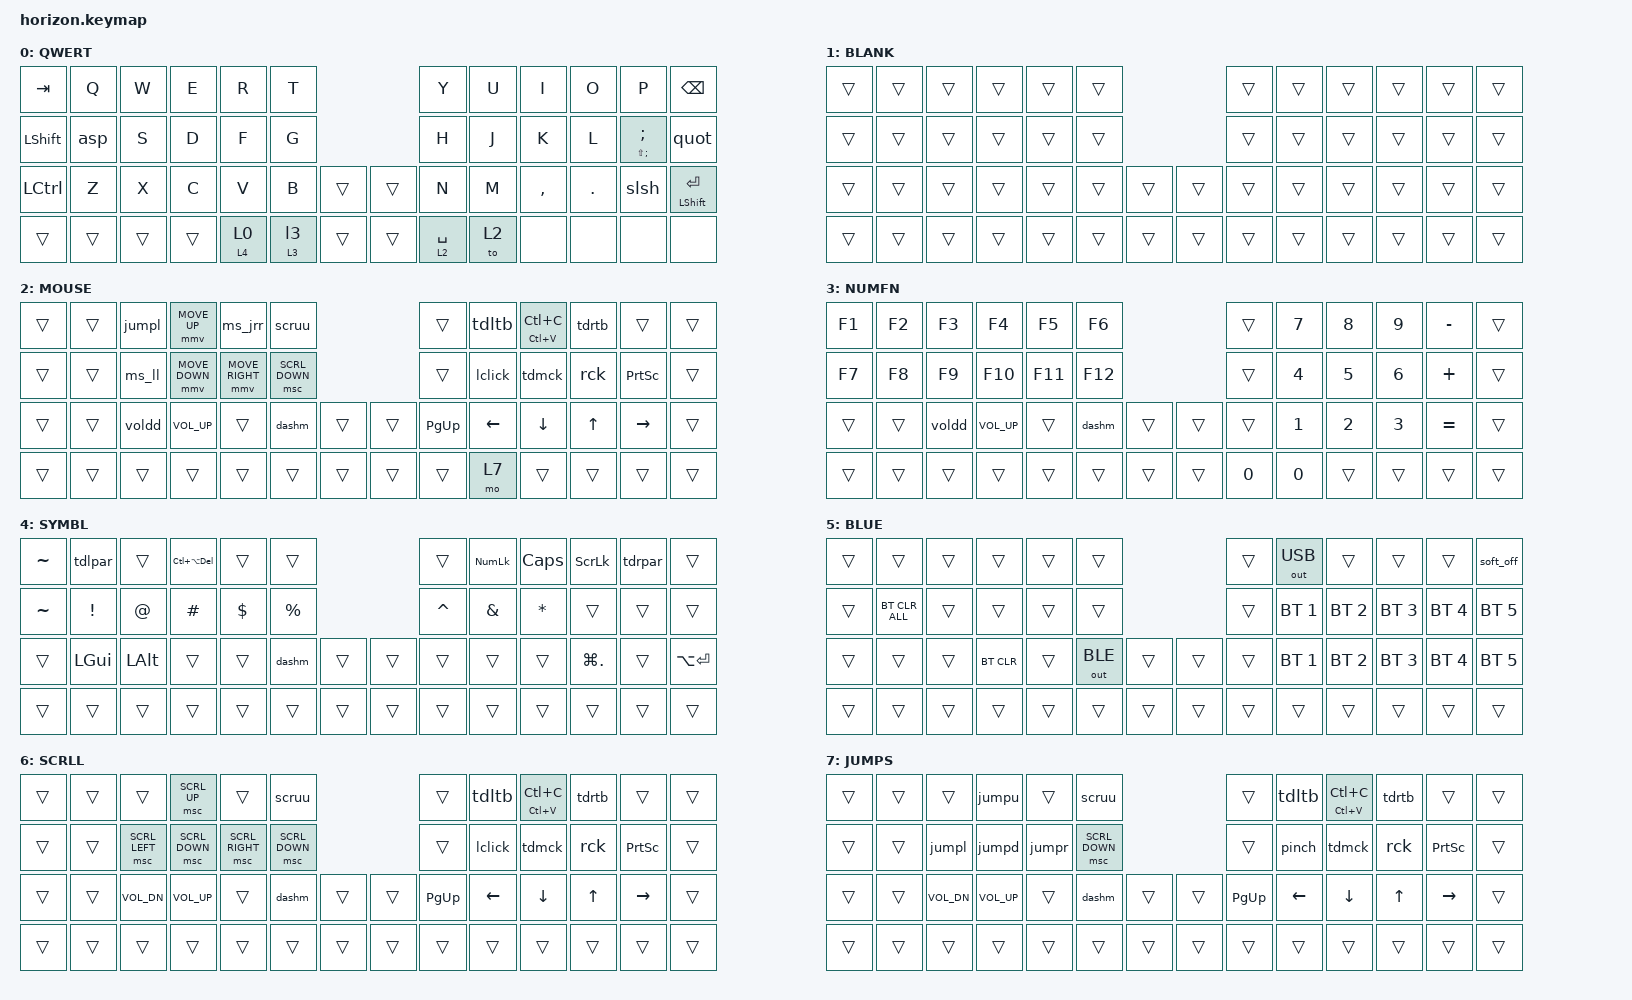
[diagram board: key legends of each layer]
//if plugged in, it will always be charging. can't not, w/o a power switch. 
//to use wired with deskhop, disconnect/remove BT from pc first. 
//mo7 inner thumb compiled but not flashed yet

/*
 * Copyright (c) 2021 The ZMK Contributors
 *
 * SPDX-License-Identifier: MIT
 */

#define MS_L &mmv MOVE_LEFT     //regular mouse moves
#define MS_D &mmv MOVE_DOWN
#define MS_U &mmv MOVE_UP
#define MS_R &mmv MOVE_RIGHT

#define U_MOUSE_MOVE_MAX 99999
#define MS_JL &mmv MOVE_X(-9999)    //not used. macros for jumps
#define MS_JR &mmv MOVE_X(9999)

#define JJL &jl MOVE_LEFT 0     //tap for jump, hold for mouse moves
#define JJD &jd MOVE_DOWN 0
#define JJU &ju MOVE_UP 0
#define JJR &jr MOVE_RIGHT 0

#define ZMK_POINTING_DEFAULT_MOVE_VAL 400  // default: 600
#define ZMK_POINTING_DEFAULT_SCRL_VAL 10   // default: 10

#define SCR_L &msc SCRL_LEFT
#define SCR_D &msc SCRL_DOWN
#define SCR_U &msc SCRL_UP
#define SCR_R &msc SCRL_RIGHT

#define CAD &kp LC(LA(DEL))
#define CAT &kp LC(LA(TAB))

#define COPPST &hold_tap LC(V) LC(C)
#define SENT   &hold_tap LSHFT ENTER
#define SLCN   &hold_tap LS(SEMI) SEMI
#define SLSH   &hold_tap QMARK SLASH

#define BTBLE &out OUT_BLE 
#define BTCLR &bt BT_CLR
#define BTCLRA &bt BT_CLR_ALL
#define BTUSB &out OUT_USB
#define BT1 &bt BT_SEL 1 
#define BT2 &bt BT_SEL 2 
#define BT3 &bt BT_SEL 3
#define BT4 &bt BT_SEL 4
#define BT5 &bt BT_SEL 5
#define LYR3 &mo_m 3 0
#define LYR4 &mo_to 4 0 
#define vold &kp C_VOL_DN 
#define volu &kp C_VOL_UP

#include <behaviors.dtsi>
#include <dt-bindings/zmk/keys.h>
#include <dt-bindings/zmk/bt.h>
#include <dt-bindings/zmk/outputs.h>
#include <dt-bindings/zmk/mouse.h>
#include <dt-bindings/zmk/pointing.h>
#include <behaviors/mouse_keys.dtsi>
#include <input/processors.dtsi>
#include <zephyr/dt-bindings/input/input-event-codes.h>
#include <dt-bindings/zmk/ext_power.h>

//&soft_off { //config to only turn off it the key is held for 0.5 seconds or longer.
//    hold-time-ms = <500>; //not used, currently instant
//};

&lt {
    tapping-term-ms = <180>;
    flavor = "tap-preferred";
};

//sticky keys sticky keys sticky keys sticky keys sticky keys sticky keys sticky keys sticky keys sticky keys sticky keys sticky keys sticky keys 

&sk {   //not using sticky keys
    release-after-ms = <2000>; //hold 2 sec if no other key pressed
    quick-release; //deactivate sk on the next key being pressed
};

//tap dance tap dance tap dance tap dance tap dance tap dance tap dance tap dance tap dance tap dance tap dance tap dance tap dance tap dance tap dance
//tap & double tap 

/ {
    behaviors {
        tdltb: tap_dance_ltb {                                 //left tab
            compatible = "zmk,behavior-tap-dance";
            #binding-cells = <0>;
            tapping-term-ms = <300>;
            bindings = <&hold_tap LA(LEFT) LS(COMMA)>, <&kp LC(LS(TAB))>;
        };
        tdrtb: tap_dance_rtb {                                 //right tab
            compatible = "zmk,behavior-tap-dance";
            #binding-cells = <0>;
            tapping-term-ms = <300>;
            bindings = <&hold_tap LA(RIGHT) LS(DOT)>, <&kp LC(TAB)>;
        };
        tdmck: tap_dance_mck {                                 //mclick
            compatible = "zmk,behavior-tap-dance";
            #binding-cells = <0>;
            tapping-term-ms = <300>;
            bindings = <&mo_clk 6 MCLK>, <&kp LC(LS(T))>;
        };
        tdrck: tap_dance_rck {                                 //rclick
            compatible = "zmk,behavior-tap-dance";
            #binding-cells = <0>;
            tapping-term-ms = <300>;
            bindings = <&mo_clk 1 RCLK>, <&kp LC(W)>;
        };        
        tdlpar: tap_dance_lpar {                                //lpar
            compatible = "zmk,behavior-tap-dance";
            #binding-cells = <0>;
            tapping-term-ms = <300>;
            bindings = <&kp LPAR>, <&kp LBRC>, <&kp LBKT>, <&kp LT>;
        };
        tdrpar: tap_dance_rpar {                                //rpar
            compatible = "zmk,behavior-tap-dance";
            #binding-cells = <0>;
            tapping-term-ms = <300>;
            bindings = <&kp RPAR>, <&kp RBRC>, <&kp RBKT>, <&kp GT>;
        };

    };
};

//custom hold tap custom hold tap custom hold tap custom hold tap custom hold tap custom hold tap custom hold tap custom hold tap custom hold tap
//hold and tap

/ {
    behaviors { 
        hold_tap: hold_tap { //hold tap for regular keycodes
            compatible = "zmk,behavior-hold-tap";
            #binding-cells = <2>;
            tapping-term-ms = <300>;
            quick-tap-ms = <0>;
            bindings = <&kp>, <&kp>;
        };
        hold_tap_clk: hold_tap_clk { //hold mo, tap mouse button. not used?
            compatible = "zmk,behavior-hold-tap";
            #binding-cells = <2>;
            tapping-term-ms = <300>;
            quick-tap-ms = <0>;
            bindings = <&mo>, <&mkp>;
        };     
        jl: jl { //hold move, tap jump
            compatible = "zmk,behavior-hold-tap";
            #binding-cells = <2>;
            flavor = "hold-preferred";
            tapping-term-ms = <300>;
            bindings = <&mmv>, <&jumpl>;
        };
        jd: jd { //hold move, tap jump
            compatible = "zmk,behavior-hold-tap";
            #binding-cells = <2>;
            flavor = "hold-preferred";
            tapping-term-ms = <300>;
            bindings = <&mmv>, <&jumpd>;
        };        
        ju: ju { //hold move, tap jump
            compatible = "zmk,behavior-hold-tap";
            #binding-cells = <2>;
            flavor = "hold-preferred";
            tapping-term-ms = <300>;
            bindings = <&mmv>, <&jumpu>;
        }; 
        jr: jr { //hold move, tap jump
            compatible = "zmk,behavior-hold-tap";
            #binding-cells = <2>;
            flavor = "hold-preferred";
            tapping-term-ms = <300>;
            bindings = <&mmv>, <&jumpr>;
        };            
        mo_clk: mo_clk { //hold mo, tap mouse button
            compatible = "zmk,behavior-hold-tap";
            #binding-cells = <2>;
            tapping-term-ms = <300>;
            quick-tap-ms = <0>;
            bindings = <&mo>, <&mkp>;
        };
        mo_m: mo_m { //hold mo, tap macro
            compatible = "zmk,behavior-hold-tap";
            #binding-cells = <2>;
            tapping-term-ms = <300>; 
            bindings = <&mo>, <&l3>;
            };
        mo_to: mo_to { //hold mo, tap to
            compatible = "zmk,behavior-hold-tap";
            #binding-cells = <2>;
            flavor = "hold-preferred";
            tapping-term-ms = <300>;
            bindings = <&mo>, <&to>;
        };                

  };
}; 

//mod morph mod morph mod morph mod morph mod morph mod morph mod morph mod morph mod morph mod morph mod morph mod morph mod morph mod morph mod
//normal, with mod

/ {
    behaviors {
        asp: asp { //ctrl A is ctrl A & C, copy all
            compatible = "zmk,behavior-mod-morph";
            #binding-cells = <0>;
            bindings = <&kp A>, <&ctrla>;
            mods = <(MOD_LCTL|MOD_RCTL)>;
            keep-mods = <(MOD_LCTL)>;
        };
        ms_ll: ms_ll { //ctrl ms_l to save
            compatible = "zmk,behavior-mod-morph";
            #binding-cells = <0>;
            bindings = <MS_L>, <&kp LC(S)>;
            mods = <(MOD_LCTL|MOD_RCTL)>;
        };        
        quot: quot { //shift quot is quote macro
            compatible = "zmk,behavior-mod-morph";
            #binding-cells = <0>;
            bindings = <&kp APOS>, <&quotm>;
            mods = <(MOD_LSFT|MOD_RSFT)>;
        };        
        rck: rck { //ctrl rclick is ctrl l and exit nav lyr
            compatible = "zmk,behavior-mod-morph";
            #binding-cells = <0>;
            bindings = <&tdrck>, <&crck>;
            mods = <(MOD_LCTL|MOD_RCTL)>;
        };
        slsh: slsh { //shift slsh is fwd slsh
            compatible = "zmk,behavior-mod-morph";
            #binding-cells = <0>;
            bindings = <SLSH>, <&slshm>;
            mods = <(MOD_LSFT|MOD_RSFT)>;
        };        
        scru: scru { //ctrl scrollup is ctrl t for new tab
            compatible = "zmk,behavior-mod-morph";
            #binding-cells = <0>;
            bindings = <SCR_U>, <&ctrlt>;
            mods = <(MOD_LCTL|MOD_RCTL)>;
        };
        scruu: scruu { //ctrl sft scrollup is ctrl sft t to reopen tab
            compatible = "zmk,behavior-mod-morph";
            #binding-cells = <0>;
            bindings = <&scru>, <&kp LC(LS(T))>;
            mods = <(MOD_LSFT|MOD_RSFT)>;
        };
        ms_jrr: ms_jrr { //ctrl MS_JR ctrl r to refresh
            compatible = "zmk,behavior-mod-morph";
            #binding-cells = <0>;
            bindings = <&jumpr>, <&kp LC(R)>;
            mods = <(MOD_LCTL|MOD_RCTL)>;
        };
        lclick: lclick { //ctrl lck is ctrl j to open downloads
            compatible = "zmk,behavior-mod-morph";
            #binding-cells = <0>;
            bindings = <&mkp LCLK>, <&kp LC(J)>;
            mods = <(MOD_LCTL|MOD_RCTL)>;
        };
        voldd: voldd { //ctrl vold is ctrl x for cut
            compatible = "zmk,behavior-mod-morph";
            #binding-cells = <0>;
            bindings = <vold>, <&kp LC(X)>;
            mods = <(MOD_LCTL|MOD_RCTL)>;
        };        
    };
};

//macros macros macros macros macros macros macros macros macros macros macros macros macros macros macros macros macros macros macros macros macros 

/ {
macros {
    copysp: copysp {
        compatible = "zmk,behavior-macro";
        #binding-cells = <0>;
        wait-ms = <40>;
	    tap-ms = <40>;
        bindings
            = <&macro_press &kp LCTRL>,
              <&macro_tap &kp C &kp L &kp V &kp A &kp C>,
              <&macro_release &kp LCTRL>;
    };
    crck: crck {
        compatible = "zmk,behavior-macro";
        #binding-cells = <0>;
        bindings
            = <&to 0>,
              <&macro_press &kp LCTL>,
              <&macro_tap &kp L>,
              <&macro_release &kp LCTL>;
    };  
    ctrla: ctrla {
        compatible = "zmk,behavior-macro";
        #binding-cells = <0>;
        bindings
            = <&macro_press &kp LCTL>,
              <&macro_tap &kp A &kp C>,
              <&macro_release &kp LCTL>;
    }; 
    ctrlt: ctrlt {
        compatible = "zmk,behavior-macro";
        #binding-cells = <0>;
        bindings
            = <&to 0>,
              <&macro_press &kp LCTL>,
              <&macro_tap &kp T>,
              <&macro_release &kp LCTL>;
    };     
    dashm: dashm {
        compatible = "zmk,behavior-macro";
        #binding-cells = <0>;
        bindings
            = <&macro_tap &mkp LCLK &kp RIGHT &kp RIGHT &kp MINUS &kp TAB>; //wireless. broken doesn't left click. 
//          = <&macro_tap &kp MINUS &kp TAB>; //wired           
    };
    find: find {
        compatible = "zmk,behavior-macro";
        #binding-cells = <0>;
        wait-ms = <40>;
        tap-ms = <40>;
        bindings
            = <&to 0>,
              <&macro_press &kp LCTL>,
              <&macro_tap &kp F &kp A &kp V &kp A>,
              <&macro_release &kp LCTL>;
    }; 
    l3: l3 {
        compatible = "zmk,behavior-macro";
        #binding-cells = <0>;
        bindings
            = <&to 0>, 
              <&kp BSPC>;
    }; 
    parn: parn {
        compatible = "zmk,behavior-macro";
        #binding-cells = <0>;
        wait-ms = <40>;
        tap-ms = <40>;
        bindings
            = <&macro_tap &kp LPAR &kp RPAR &kp LEFT>;
    }; 
    quotm: quotm {
        compatible = "zmk,behavior-macro";
        #binding-cells = <0>;
        bindings
            = <&macro_press &kp LSFT>,
              <&macro_tap &kp LS(APOS) &kp LS(APOS)>,
              <&macro_wait_time 100>,
              <&macro_release &kp LSFT>,
              <&macro_tap &kp LEFT>;
    };
    slshm: slshm {
        compatible = "zmk,behavior-macro";
        #binding-cells = <0>;
        bindings
            = <&macro_tap &kp BSLH>;
    };
    jumpl: jumpl {
        compatible = "zmk,behavior-macro";
        #binding-cells = <0>;
        bindings
        = <&macro_tap_time 100>, <&macro_tap &mmv MOVE_X(-10000)>;
    };
    jumpd: jumpd {
        compatible = "zmk,behavior-macro";
        #binding-cells = <0>;
        bindings
        = <&macro_tap_time 100>, <&macro_tap &mmv MOVE_Y(10000)>;            
    };
    jumpu: jumpu {
        compatible = "zmk,behavior-macro";
        #binding-cells = <0>;
        bindings
        = <&macro_tap_time 100>, <&macro_tap &mmv MOVE_Y(-10000)>;            
    };    
    jumpr: jumpr {
        compatible = "zmk,behavior-macro";
        #binding-cells = <0>;
        bindings
        = <&macro_tap_time 100>, <&macro_tap &mmv MOVE_X(10000)>;            
    };
    pinch: pinch {
        compatible = "zmk,behavior-macro";
        #binding-cells = <0>;
        bindings
        = <&macro_tap &mkp LCLK>,
          <&macro_tap &to 0>;
        };    
  };
};

//combos combos combos combos combos combos combos combos combos combos combos combos combos combos combos combos combos combos combos combos combos 

/ {
    combos {
        compatible = "zmk,combos";
        combo_altf4 {
            timeout-ms = <175>;
            key-positions = <9 10 11>;
            bindings = <&kp LA(F4)>;
        };
        combo_cat {
            timeout-ms = <175>;
            key-positions = <0 1>;
            bindings = <&kp LC(LA(TAB))>;
        };      
        combo_cbspc {
            timeout-ms = <175>;
            key-positions = <10 11>;
            bindings = <&kp LC(BSPC)>;
        };
        combo_cbspc2 {
            timeout-ms = <175>;
            key-positions = <22 23>;
            bindings = <&kp LC(BSPC)>;
        };          
        combo_copy {
            timeout-ms = <175>;
            key-positions = <26 27>;
            bindings = <&kp LC(C)>;
        };  
        combo_cpys {
            timeout-ms = <175>;
            key-positions = <26 27 28>;
            bindings = <&copysp>;
        };
        combo_ctrlw {
            timeout-ms = <175>;
            key-positions = <1 2>;
            bindings = <&kp LC(W)>;
        };              
        combo_del {
            timeout-ms = <175>;
            key-positions = <28 29>;
            bindings = <&kp DEL>;
        };   
        combo_esc {
            timeout-ms = <175>;
            key-positions = <34 35>;
            layers = <2>;           //only on layer 2
            bindings = <&kp ESC>;
        };       
        combo_esc2 {
            timeout-ms = <175>;
            key-positions = <15 43>;
            bindings = <&kp ESC>;
        }; 
        combo_find {
            timeout-ms = <175>;
            key-positions = <15 16>;
            bindings = <&find>;
        };
        combo_mute {
            timeout-ms = <175>;
            key-positions = <42 47>;
            bindings = <&kp C_MUTE>;
        };    
        combo_mute2 {
            timeout-ms = <175>;
            key-positions = <43 46>;
            bindings = <&kp C_MUTE>;
        };                  
        combo_parn {
            timeout-ms = <175>;
            key-positions = <1 10>;
            bindings = <&parn>;
        };
        combo_paste {
            timeout-ms = <175>;
            key-positions = <27 28>;
            bindings = <&kp LC(V)>;
        }; 
        combo_pgdn {
            timeout-ms = <175>;
            key-positions = <33 34>;
            layers = <2>;           //only on layer 2
            bindings = <&kp PG_DN>;
        };
        combo_pgup {
            timeout-ms = <175>;
            key-positions = <35 36>;
            layers = <2>;           //only on layer 2
            bindings = <&kp PG_UP>;
        };
        combo_reset {
            timeout-ms = <175>;
            key-positions = <0 11>;
            bindings = <&bootloader>;
        }; 
        combo_save {
            timeout-ms = <175>;
            key-positions = <13 14 15>;
            bindings = <&kp LC(S)>;
        };
        combo_scrd {
            timeout-ms = <175>;
            key-positions = <16 17>;
            bindings = <SCR_D>;
        };   
        combo_scru {
            timeout-ms = <175>;
            key-positions = <4 5>;
            bindings = <SCR_U>;
        }; 
        combo_soft {
            timeout-ms = <175>;
            key-positions = <9 10 11>;
            layers = <5>;           //only on layer 5            
            bindings = <&soft_off>;
        };
        combo_under {
            timeout-ms = <175>;
            key-positions = <32 33>;
            bindings = <&kp UNDER>;
        };              

    };
};

//conditional layers conditional layers conditional layers conditional layers conditional layers conditional layers conditional layers conditional layers 

/ {
    conditional_layers { //tri layer
        compatible = "zmk,conditional-layers";
        tri_layer {
            if-layers = <3 4>;
            then-layer = <5>;
        };
    };
};

//keymap keymap keymap keymap keymap keymap keymap keymap keymap keymap keymap keymap keymap keymap keymap keymap keymap keymap keymap keymap keymap 

/ {
    keymap {
        compatible = "zmk,keymap";

        0 { 
            display-name = "QWERT";
            bindings = <
                &kp TAB    &kp Q      &kp W      &kp E      &kp R      &kp T                            &kp Y      &kp U      &kp I      &kp O      &kp P      &kp BSPC
                &kp LSHFT  &asp       &kp S      &kp D      &kp F      &kp G                            &kp H      &kp J      &kp K      &kp L      SLCN       &quot
                &kp LCTRL  &kp Z      &kp X      &kp C      &kp V      &kp B      &trans     &trans     &kp N      &kp M      &kp COMMA  &kp DOT    &slsh      SENT
                &trans     &trans     &trans     &trans     LYR4       LYR3       &trans     &trans    &lt 2 SPACE &to 2      &none      &none      &none      &none
            >;
        };

        1 { //
            display-name = "BLANK";
            bindings = <
                &trans     &trans     &trans     &trans     &trans     &trans                           &trans     &trans     &trans     &trans     &trans     &trans
                &trans     &trans     &trans     &trans     &trans     &trans                           &trans     &trans     &trans     &trans     &trans     &trans
                &trans     &trans     &trans     &trans     &trans     &trans     &trans     &trans     &trans     &trans     &trans     &trans     &trans     &trans
                &trans     &trans     &trans     &trans     &trans     &trans     &trans     &trans     &trans     &trans     &trans     &trans     &trans     &trans                 
            >;
        };

        2 { 
            display-name = "MOUSE";
            bindings = <
                &trans     &trans     &jumpl     MS_U       &ms_jrr    &scruu                           &trans     &tdltb     COPPST     &tdrtb     &trans     &trans
                &trans     &trans     &ms_ll     MS_D       MS_R       SCR_D                            &trans     &lclick    &tdmck     &rck       &kp PSCRN  &trans
                &trans     &trans     &voldd     volu       &trans     &dashm     &trans     &trans     &kp PG_UP  &kp LEFT   &kp DOWN   &kp UP     &kp RIGHT  &trans
                &trans     &trans     &trans     &trans     &trans     &trans     &trans     &trans     &trans     &mo 7      &trans     &trans     &trans     &trans                 
            >;
        };        

        3 { 
            display-name = "NUMFN";
            bindings = <
                &kp F1     &kp F2     &kp F3     &kp F4     &kp F5     &kp F6                           &trans     &kp N7     &kp N8     &kp N9     &kp MINUS  &trans
                &kp F7     &kp F8     &kp F9     &kp F10    &kp F11    &kp F12                          &trans     &kp N4     &kp N5     &kp N6     &kp PLUS   &trans
                &trans     &trans     &voldd     volu       &trans     &dashm     &trans     &trans     &trans     &kp N1     &kp N2     &kp N3     &kp EQUAL  &trans
                &trans     &trans     &trans     &trans     &trans     &trans     &trans     &trans     &kp N0     &kp N0     &trans     &trans     &trans     &trans     
            >;
        };

        4 { 
            display-name = "SYMBL";
            bindings = <
                &kp TILDE  &tdlpar    &trans     CAD        &trans     &trans                           &trans     &kp KP_NUM &kp CAPS   &kp SLCK   &tdrpar    &trans
                &kp TILDE  &kp EXCL   &kp AT     &kp HASH   &kp DLLR &kp PRCNT                          &kp CARET  &kp AMPS   &kp ASTRK  &trans     &trans     &trans
                &trans     &kp LGUI   &kp LALT   &trans     &trans     &dashm     &trans     &trans     &trans     &trans     &trans     &kp LG(DOT) &trans    &kp LA(ENTER)
                &trans     &trans     &trans     &trans     &trans     &trans     &trans     &trans     &trans     &trans     &trans     &trans     &trans     &trans
            >;
        };

        5 { 
            display-name = "BLUE";
            bindings = <
                &trans     &trans     &trans     &trans     &trans     &trans                           &trans     BTUSB      &trans     &trans     &trans     &soft_off
                &trans     BTCLRA     &trans     &trans     &trans     &trans                           &trans     BT1        BT2        BT3        BT4        BT5 
                &trans     &trans     &trans     BTCLR      &trans     BTBLE      &trans     &trans     &trans     BT1        BT2        BT3        BT4        BT5
                &trans     &trans     &trans     &trans     &trans     &trans     &trans     &trans     &trans     &trans     &trans     &trans     &trans     &trans
            >;
        };

        6 { 
            display-name = "SCRLL";
            bindings = <
                &trans     &trans     &trans     SCR_U      &trans     &scruu                           &trans     &tdltb     COPPST     &tdrtb     &trans     &trans
                &trans     &trans     SCR_L      SCR_D      SCR_R      SCR_D                            &trans     &lclick    &tdmck     &rck       &kp PSCRN  &trans
                &trans     &trans     vold       volu       &trans     &dashm     &trans     &trans     &kp PG_UP  &kp LEFT   &kp DOWN   &kp UP     &kp RIGHT  &trans
                &trans     &trans     &trans     &trans     &trans     &trans     &trans     &trans     &trans     &trans     &trans     &trans     &trans     &trans                 
            >;
        };

        7 { //4 way jumping
            display-name = "JUMPS";
            bindings = <
                &trans     &trans     &trans     &jumpu     &trans     &scruu                           &trans     &tdltb     COPPST     &tdrtb     &trans     &trans
                &trans     &trans     &jumpl     &jumpd     &jumpr     SCR_D                            &trans     &pinch     &tdmck     &rck       &kp PSCRN  &trans
                &trans     &trans     vold       volu       &trans     &dashm     &trans     &trans     &kp PG_UP  &kp LEFT   &kp DOWN   &kp UP     &kp RIGHT  &trans
                &trans     &trans     &trans     &trans     &trans     &trans     &trans     &trans     &trans     &trans     &trans     &trans     &trans     &trans                 
            >;
        };

    };
};
